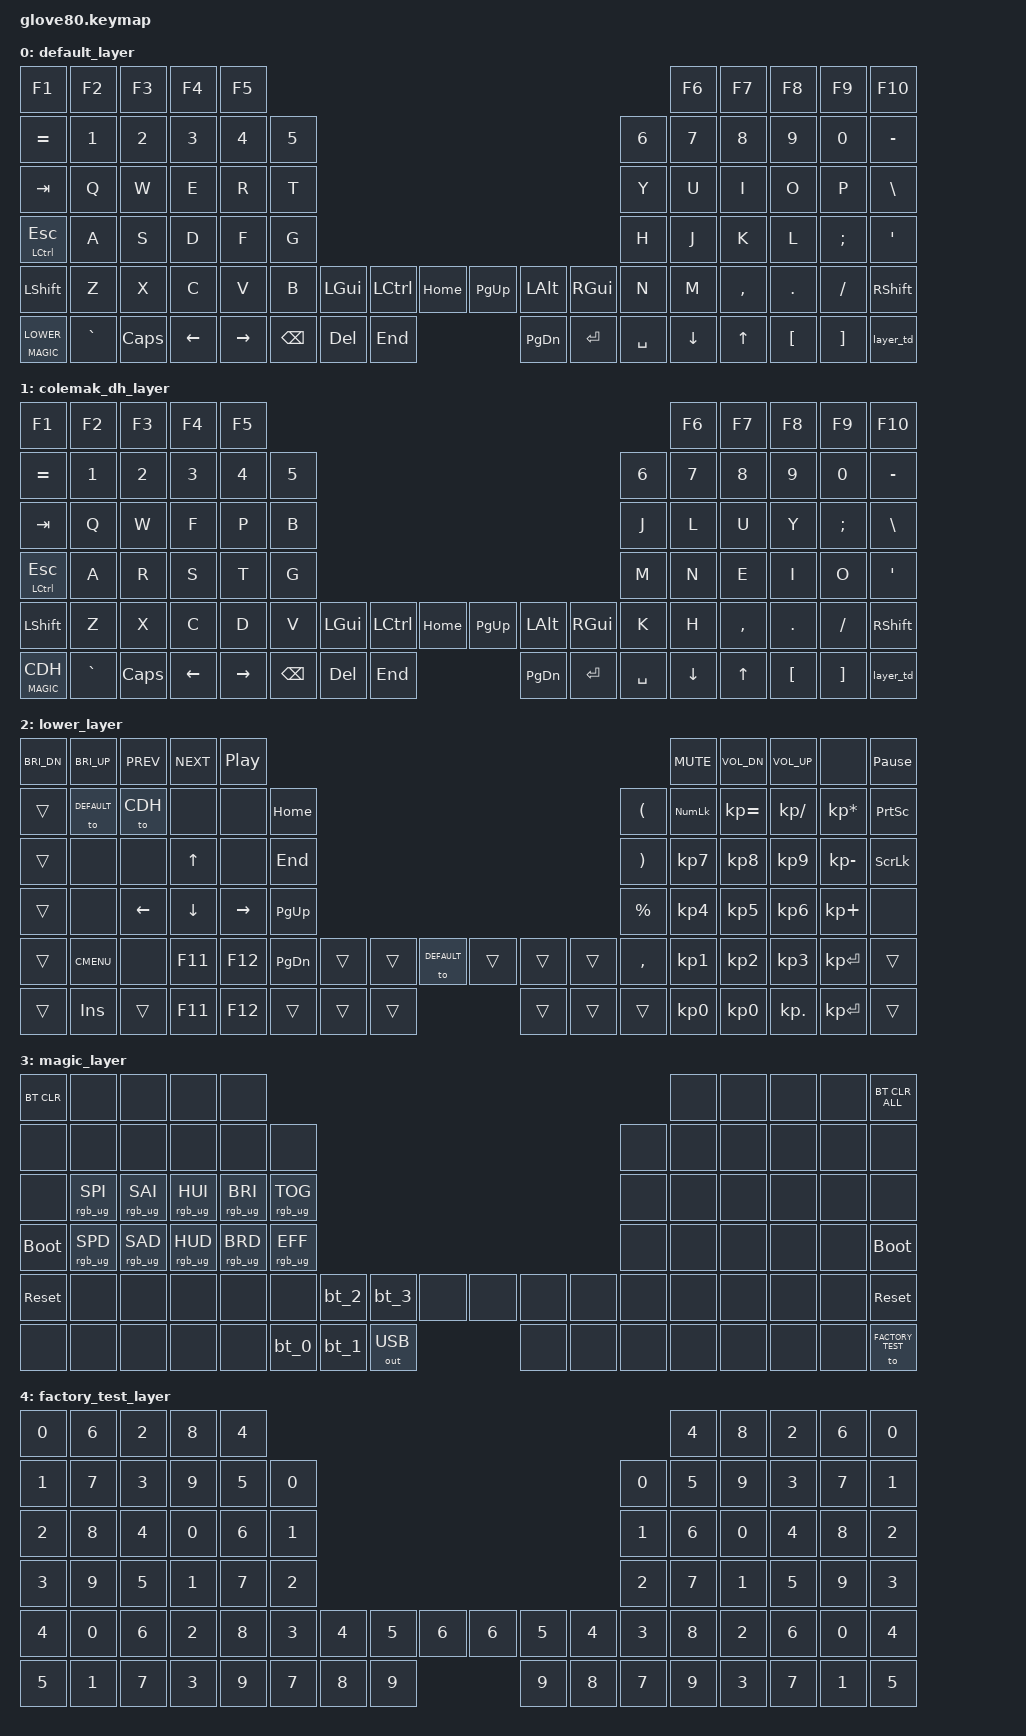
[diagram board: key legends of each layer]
/*
 * Copyright (c) 2020 The ZMK Contributors
 *
 * SPDX-License-Identifier: MIT
 */

#include <behaviors.dtsi>
#include <dt-bindings/zmk/keys.h>
#include <dt-bindings/zmk/bt.h>
#include <dt-bindings/zmk/ext_power.h>
#include <dt-bindings/zmk/outputs.h>
#include <dt-bindings/zmk/rgb.h>

#define HYPER LC(LS(LG(LALT)))

// layers
#define DEFAULT 0
#define CDH 1
#define LOWER 2
#define MAGIC 3
#define FACTORY_TEST 4

/ {
    behaviors {
        // For the "layer" key, it'd nice to be able to use it as either a shift or a toggle.
        // Configure it as a tap dance, so the first tap (or hold) is a &mo and the second tap is a &to
        layer_td: tap_dance_0 {
            compatible = "zmk,behavior-tap-dance";
            label = "LAYER_TAP_DANCE";
            #binding-cells = <0>;
            tapping-term-ms = <200>;
            bindings = <&mo LOWER>, <&to LOWER>;
        };

        magic: magic_hold_tap {
            compatible = "zmk,behavior-hold-tap";
            label = "MAGIC_HOLD_TAP";
            #binding-cells = <2>;
            flavor = "tap-preferred";
            tapping-term-ms = <200>;
            bindings = <&mo>, <&rgb_ug_status_macro>;
        };

     hm: homerow_mods {
            compatible = "zmk,behavior-hold-tap"; // from default https://zmk.dev/docs/behaviors/hold-tap
            label = "HOMEROW_MODS";
            #binding-cells = <2>;
            tapping-term-ms = <200>;    // <---[[moderate duration]]
            quick-tap-ms = <175>;
            flavor = "balanced";
            bindings = <&kp>, <&kp>;
            hold-trigger-on-release;
      };

      hm_sft: homerow_mods_shift {
          flavor = "tap-preferred";
          tapping-term-ms = <150>;
          quick-tap-ms = <175>;                // repeat on tap-into-hold
//          require-prior-idle-ms = <150>;
          compatible = "zmk,behavior-hold-tap";
          label = "HOMEROW_MODS_LEFT";
          #binding-cells = <2>;
          bindings = <&kp>, <&kp>;
          hold-trigger-on-release;             // delay positional check until key-release
      };

      hm_rpi: homerow_mods_prior_idle {
          flavor = "tap-preferred";
          tapping-term-ms = <250>;
//          quick-tap-ms = <175>;                // repeat on tap-into-hold
          require-prior-idle-ms = <150>;
          compatible = "zmk,behavior-hold-tap";
          label = "HOMEROW_MODS_RPI";
          #binding-cells = <2>;
          bindings = <&kp>, <&kp>;
          hold-trigger-on-release;             // delay positional check until key-release
      };

      hm_alt: homerow_mods_alt {
          flavor = "tap-preferred";
          tapping-term-ms = <200>;
//          quick-tap-ms = <175>;                // repeat on tap-into-hold
          require-prior-idle-ms = <190>;
          compatible = "zmk,behavior-hold-tap";
          label = "HOMEROW_MODS_ALT";
          #binding-cells = <2>;
          bindings = <&kp>, <&kp>;
          hold-trigger-on-release;             // delay positional check until key-release
      };

    };

    macros {
        rgb_ug_status_macro: rgb_ug_status_macro_0 {
            label = "RGB_UG_STATUS";
            compatible = "zmk,behavior-macro";
            #binding-cells = <0>;
            bindings
                = <&rgb_ug RGB_STATUS>;
        };

        bt_0: bt_profile_macro_0 {
            label = "BT_0";
            compatible = "zmk,behavior-macro";
            #binding-cells = <0>;
            bindings
                = <&out OUT_BLE>,
                  <&bt BT_SEL 0>;
        };

        bt_1: bt_profile_macro_1 {
            label = "BT_1";
            compatible = "zmk,behavior-macro";
            #binding-cells = <0>;
            bindings
                = <&out OUT_BLE>,
                  <&bt BT_SEL 1>;
        };

        bt_2: bt_profile_macro_2 {
            label = "BT_2";
            compatible = "zmk,behavior-macro";
            #binding-cells = <0>;
            bindings
                = <&out OUT_BLE>,
                  <&bt BT_SEL 2>;
        };

        bt_3: bt_profile_macro_3 {
            label = "BT_3";
            compatible = "zmk,behavior-macro";
            #binding-cells = <0>;
            bindings
                = <&out OUT_BLE>,
                  <&bt BT_SEL 3>;
        };
    };

    // Home row mods
    #define _F_SFT &hm LSHFT F  // Shift on index fingers
    #define _J_SFT &hm RSHFT J
    #define _HOME_SFT &hm LSHFT HOME  // Shift in traditional places
    #define _PG_UP_SFT &hm RSHFT PG_UP
    #define _D_CMD &hm_rpi LGUI D   // Command on middle fingers
    #define _K_CMD &hm_rpi RGUI K
    #define _V_CTL &hm_rpi LCTRL V  // Control on index down
    #define _M_CTL &hm_rpi RCTRL M
    #define _S_OPT &hm_alt LALT S   // Option on ring finger
    #define _L_OPT &hm_alt RALT L

    // Colemak home row mods
    #define _CT_SFT &hm LSHFT T  // Shift on index fingers
    #define _CN_SFT &hm RSHFT N
    #define _HOME_SFT &hm LSHFT HOME  // Shift in traditional places
    #define _PG_UP_SFT &hm RSHFT PG_UP
    #define _CS_CMD &hm_rpi LGUI S   // Command on middle fingers
    #define _CE_CMD &hm_rpi RGUI E
    #define _CD_CTL &hm_rpi LCTRL D  // Control on index down
    #define _CH_CTL &hm_rpi RCTRL H
    #define _CR_OPT &hm_alt LALT R   // Option on ring finger
    #define _CI_OPT &hm_alt RALT I

    // Common mods
    #define _ESC_CTL &hm_rpi LCTRL ESC  // Control on index down


    // MacOS shortcuts
    #define _1PASS &kp LG(BSLH)      // 1Password
    #define _APEX  &kp LC(UP)        // App exposé
    #define _FQUIT &kp LA(LG(ESC))   // Force quit
    #define _MCTL  &kp LC(DOWN)      // Mission control
    #define _SCRNS &kp LG(LS(N4))    // Screenshot
    #define _EMOJI &kp LC(LG(SPACE)) // Emoji picker
    #define _NEXTS &kp LC(RIGHT)     // Next screen
    #define _PREVS &kp LC(LEFT)      // Previous screen


    keymap {
        compatible = "zmk,keymap";

        default_layer {
            // ---------------------------------------------------------------------------------------------------------------------------------
            // |  F1  |  F2 |  F3   |  F4  |  F5  |                                                                |  F6   |  F7   |  F8  |   F9  |  F10 |
            // |  =   |  1  |  2    |  3   |  4   |  5   |                                                  |  6   |   7   |   8   |  9   |   0   |   -  |
            // |  TAB |  Q  |  W    |  E   |  R   |  T   |                                                  |  Y   |   U   |   I   |  O   |   P   |   \  |
            // |  ESC |  A  |  S    |  D   |  F   |  G   |                                                  |  H   |   J   |   K   |  L   |   ;   |   '  |
            // | SHFT |  Z  |  X    |  C   |  V   |  B   | LGUI  | LCTRL | HOME |  | PGUP  | RGUI  | RCTRL  |  N   |   M   |   ,   |  .   |   /   | SHFT |
            // | MAGIC|  `  | LALT  | LEFT | RIGHT|      | BSPC  | DEL   | END  |  | PGDN  | RET   | SPACE  |      |  DOWN |  UP   |  [   |   ]   | LOWER|

            bindings = <
            &kp F1         &kp F2    &kp F3     &kp F4      &kp F5                                                                                       &kp F6  &kp F7      &kp F8      &kp F9      &kp F10
            &kp EQUAL      &kp N1    &kp N2     &kp N3      &kp N4      &kp N5                                                                   &kp N6  &kp N7  &kp N8      &kp N9      &kp N0      &kp MINUS
            &kp TAB        &kp Q     &kp W      &kp E       &kp R       &kp T                                                                    &kp Y   &kp U   &kp I       &kp O       &kp P       &kp BSLH
            _ESC_CTL        &kp A     &kp S     &kp D       &kp F       &kp G                                                                    &kp H   &kp J   &kp K      &kp L       &kp SEMI    &kp SQT
            &kp LSHFT      &kp Z     &kp X      &kp C       &kp V      &kp B   &kp LGUI   &kp LCTRL   &kp HOME  &kp PG_UP  &kp LALT &kp RGUI   &kp N    &kp M    &kp COMMA   &kp DOT     &kp FSLH    &kp RSHFT 
            &magic MAGIC LOWER &kp GRAVE &kp CAPS   &kp LEFT    &kp RIGHT           &kp BSPC   &kp DEL     &kp END   &kp PG_DN  &kp RET  &kp SPACE     &kp DOWN  &kp UP   &kp LBKT    &kp RBKT    &layer_td 
            >;
        };

        colemak_dh_layer {
            // ---------------------------------------------------------------------------------------------------------------------------------
            // |  F1  |  F2 |  F3   |  F4  |  F5  |                                                                |  F6   |  F7   |  F8  |   F9  |  F10 |
            // |  =   |  1  |  2    |  3   |  4   |  5   |                                                  |  6   |   7   |   8   |  9   |   0   |   -  |
            // |  TAB |  Q  |  W    |  F   |  P   |  B   |                                                  |  J   |   L   |   U   |  Y   |   ;   |   \  |
            // |  ESC |  A  |  R    |  S   |  T   |  G   |                                                  |  M   |   N   |   E   |  I   |   O   |   '  |
            // | SHFT |  Z  |  X    |  C   |  D   |  V   | LGUI  | LCTRL | HOME |  | PGUP  | RGUI  | RCTRL  |  K   |   H   |   ,   |  .   |   /   | SHFT |
            // | MAGIC|  `  | LALT  | LEFT | RIGHT|      | BSPC  | DEL   | END  |  | PGDN  | RET   | SPACE  |      |  DOWN |   UP  |  [   |   ]   | LOWER|

            bindings = <
            &kp F1           &kp F2    &kp F3     &kp F4     &kp F5                                                                                   &kp F6   &kp F7      &kp F8      &kp F9     &kp F10
            &kp EQUAL        &kp N1    &kp N2     &kp N3     &kp N4    &kp N5                                                                 &kp N6  &kp N7   &kp N8      &kp N9      &kp N0     &kp MINUS
            &kp TAB          &kp Q     &kp W      &kp F      &kp P     &kp B                                                                  &kp J   &kp L    &kp U       &kp Y       &kp SEMI   &kp BSLH
            _ESC_CTL          &kp A     &kp R      &kp S      &kp T     &kp G                                                                  &kp M   &kp N    &kp E     &kp I       &kp O      &kp SQT
            &kp LSHFT        &kp Z     &kp X      &kp C      &kp D   &kp V   &kp LGUI   &kp LCTRL  &kp HOME  &kp PG_UP &kp LALT  &kp RGUI   &kp K     &kp H  &kp COMMA   &kp DOT     &kp FSLH   &kp RSHFT 
            &magic MAGIC CDH &kp GRAVE &kp CAPS   &kp LEFT   &kp RIGHT         &kp BSPC   &kp DEL    &kp END   &kp PG_DN  &kp RET   &kp SPACE       &kp DOWN   &kp UP    &kp LBKT    &kp RBKT   &layer_td 
            >;
        };

        lower_layer {
            bindings = <
            &kp C_BRI_DN      &kp C_BRI_UP        &kp C_PREV      &kp C_NEXT      &kp C_PP                                                                                                           &kp C_MUTE   &kp C_VOL_DN &kp C_VOL_UP  &none           &kp PAUSE_BREAK
            &trans            &to DEFAULT         &to CDH         &none           &none           &kp HOME                                                                              &kp LPAR     &kp KP_NUM   &kp KP_EQUAL &kp KP_DIVIDE &kp KP_MULTIPLY &kp PSCRN
            &trans            &none               &none           &kp UP          &none           &kp END                                                                               &kp RPAR     &kp KP_N7    &kp KP_N8    &kp KP_N9     &kp KP_MINUS    &kp SLCK
            &trans            &none               &kp LEFT        &kp DOWN        &kp RIGHT       &kp PG_UP                                                                             &kp PRCNT    &kp KP_N4    &kp KP_N5    &kp KP_N6     &kp KP_PLUS     &none
            &trans            &kp K_CMENU         &none           &kp F11         &kp F12         &kp PG_DN       &trans      &trans      &to DEFAULT &trans      &trans      &trans    &kp COMMA    &kp KP_N1    &kp KP_N2    &kp KP_N3     &kp KP_ENTER    &trans
            &trans            &kp INS             &trans          &kp F11         &kp F12                         &trans      &trans      &trans      &trans      &trans      &trans                 &kp KP_N0    &kp KP_N0    &kp KP_DOT    &kp KP_ENTER    &trans
            >;
        };

        magic_layer {
            bindings = <
            &bt BT_CLR        &none               &none           &none           &none                                                                                                           &none      &none      &none      &none      &bt BT_CLR_ALL
            &none             &none               &none           &none           &none           &none                                                                                &none      &none      &none      &none      &none      &none
            &none             &rgb_ug RGB_SPI     &rgb_ug RGB_SAI &rgb_ug RGB_HUI &rgb_ug RGB_BRI &rgb_ug RGB_TOG                                                                      &none      &none      &none      &none      &none      &none
            &bootloader       &rgb_ug RGB_SPD     &rgb_ug RGB_SAD &rgb_ug RGB_HUD &rgb_ug RGB_BRD &rgb_ug RGB_EFF                                                                      &none      &none      &none      &none      &none      &bootloader
            &sys_reset        &none               &none           &none           &none           &none           &bt_2     &bt_3     &none            &none     &none     &none       &none      &none      &none      &none      &none      &sys_reset
            &none             &none               &none           &none           &none                           &bt_0     &bt_1     &out OUT_USB     &none     &none     &none                  &none      &none      &none      &none      &to FACTORY_TEST
            >;
        };

        factory_test_layer {
            bindings = <
            &kp N0   &kp N6   &kp N2   &kp N8   &kp N4                                                                              &kp N4   &kp N8   &kp N2   &kp N6   &kp N0
            &kp N1   &kp N7   &kp N3   &kp N9   &kp N5   &kp N0                                                            &kp N0   &kp N5   &kp N9   &kp N3   &kp N7   &kp N1
            &kp N2   &kp N8   &kp N4   &kp N0   &kp N6   &kp N1                                                            &kp N1   &kp N6   &kp N0   &kp N4   &kp N8   &kp N2
            &kp N3   &kp N9   &kp N5   &kp N1   &kp N7   &kp N2                                                            &kp N2   &kp N7   &kp N1   &kp N5   &kp N9   &kp N3
            &kp N4   &kp N0   &kp N6   &kp N2   &kp N8   &kp N3   &kp N4   &kp N5   &kp N6      &kp N6   &kp N5   &kp N4   &kp N3   &kp N8   &kp N2   &kp N6   &kp N0   &kp N4
            &kp N5   &kp N1   &kp N7   &kp N3   &kp N9            &kp N7   &kp N8   &kp N9      &kp N9   &kp N8   &kp N7            &kp N9   &kp N3   &kp N7   &kp N1   &kp N5
            >;
        };


    };
};
